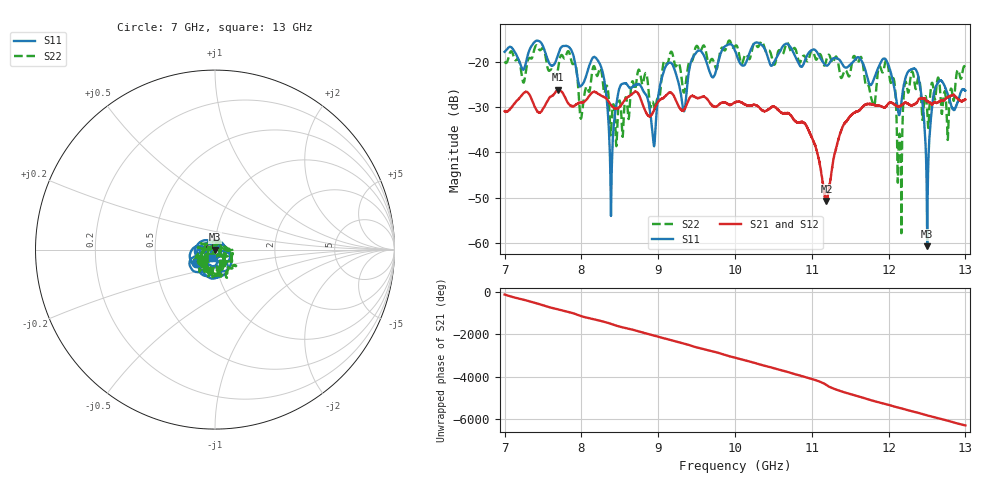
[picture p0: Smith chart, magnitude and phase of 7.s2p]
[Version] 2.0
! Rohde & Schwarz Vector Network Analyzer
! Rohde-Schwarz,ZNL20-2Port,1323001220200009,1.71.1.10-23.02.1.238
! Port Assignments:
! Nominal Port -> Actual Test Port
!  1 -> 1
!  2 -> 2
! Created: GMT+3 2024-09-24 16:04:04
# Hz S DB R 50
[Number of Ports] 2
[Two-Port Data Order] 21_12
! freq[Hz]  S11[mag dB]  S11[ang]  S21[mag dB]  S21[ang]  S12[mag dB]  S12[ang]  S22[mag dB]  S22[ang]
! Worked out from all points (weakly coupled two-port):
!   6001 points, 7 GHz to 13 GHz, reference 50 ohm
!   highest |S21| = -26.17 dB at 7.696 GHz (marker M1); lowest = -50.7 dB at 11.19 GHz (marker M2)
!   lowest |S11| = -60.6 dB at 12.5 GHz (marker M3), VSWR 1.00, Z = 50.1 + j0.028 ohm
!   |S11| at or under -10 dB: start of sweep to end of sweep
!   |S22| runs from -57.8 to -15.4 dB; largest |S21 - S12| = 0.00078
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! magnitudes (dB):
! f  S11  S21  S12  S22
! 7 GHz  -17.9  -30.9  -30.9  -20.0
! 7.696 GHz  -18.5  -26.2  -26.2  -21.6
! 8 GHz  -25.3  -29.0  -29.0  -32.3
! 8.248 GHz  -20.8  -27.4  -27.4  -21.5
! 8.387 GHz  -52.2  -29.6  -29.6  -34.9
! 8.519 GHz  -25.0  -29.6  -29.5  -31.5
! 8.748 GHz  -24.9  -27.3  -27.3  -21.8
! 8.939 GHz  -38.1  -31.0  -30.9  -29.3
! 9 GHz  -27.7  -28.9  -28.9  -28.2
! 9.166 GHz  -20.3  -26.9  -26.9  -17.8
! 9.333 GHz  -30.9  -30.7  -30.7  -26.8
! 10 GHz  -17.6  -29.0  -29.0  -16.6
! 11 GHz  -17.5  -36.7  -36.7  -17.5
! 11.19 GHz  -20.9  -50.7  -50.5  -19.6
! 11.43 GHz  -21.3  -33.5  -33.6  -22.0
! 12 GHz  -20.9  -29.2  -29.2  -21.7
! 12.14 GHz  -31.6  -29.9  -29.8  -35.9
! 12.22 GHz  -23.9  -29.1  -29.1  -24.5
! 12.36 GHz  -21.9  -29.1  -29.1  -25.7
! 12.5 GHz  -60.6  -28.7  -28.7  -30.9
! 12.63 GHz  -25.1  -29.1  -29.1  -25.1
! 13 GHz  -26.4  -28.3  -28.3  -21.6
